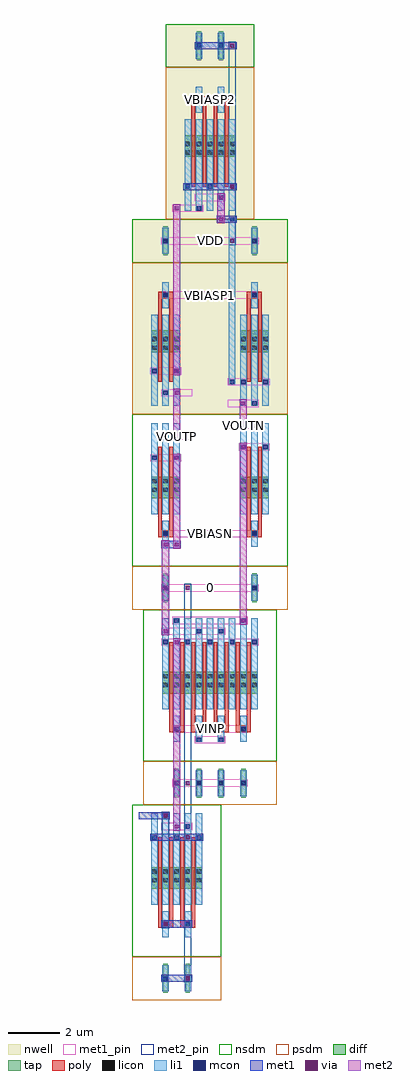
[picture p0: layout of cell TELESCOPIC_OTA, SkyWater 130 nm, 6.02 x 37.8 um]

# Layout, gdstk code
import gdstk
lib = gdstk.Library(unit=1e-6, precision=1e-09)
def R(c, l, rs):  # rectangles x0, y0, x1, y1
    for r in rs: c.add(gdstk.rectangle(r[:2], r[2:], *l))
def A(c, l, x, y, w, h, nx, ny, dx, dy):  # array of equal rectangles
    R(c, l, [(x+i*dx, y+j*dy, x+i*dx+w, y+j*dy+h) for i in range(nx) for j in range(ny)])
nwell = (64, 20)
diff = (65, 20)
tap = (65, 44)
poly = (66, 20)
licon = (66, 44)
li1 = (67, 20)
mcon = (67, 44)
met1_pin = (68, 16)
met1 = (68, 20)
via = (68, 44)
met2_pin = (69, 16)
met2 = (69, 20)
nsdm = (93, 44)
psdm = (94, 20)

telescopic_ota = lib.new_cell('TELESCOPIC_OTA')
R(telescopic_ota, nwell, [(0,22.68,6.02,30.24), (1.29,30.24,4.73,37.8)])
R(telescopic_ota, diff, [(0.735,4.305,2.705,5.145), (1.165,11.865,4.855,12.705), (0.735,19.425,1.845,20.265), (4.175,19.425,5.285,20.265), (0.735,25.095,1.845,25.935), (4.175,25.095,5.285,25.935), (2.025,32.655,3.995,33.495)])
A(telescopic_ota, tap, 1.635, 7.84, 0.17, 1.12, 4, 1, 0.86, 0)
R(telescopic_ota, tap, [(1.205,0.28,1.375,1.4), (2.065,0.28,2.235,1.4), (1.205,15.4,1.375,16.52), (4.645,15.4,4.815,16.52), (1.205,28.84,1.375,29.96), (4.645,28.84,4.815,29.96), (2.495,36.4,2.665,37.52), (3.355,36.4,3.525,37.52)])
A(telescopic_ota, poly, 1, 2.94, 0.15, 3.36, 4, 1, 0.43, 0)
A(telescopic_ota, poly, 1.43, 10.365, 0.58, 0.27, 4, 1, 0.86, 0)
A(telescopic_ota, poly, 1.43, 10.5, 0.15, 3.36, 8, 1, 0.43, 0)
A(telescopic_ota, poly, 2.29, 31.5, 0.15, 3.36, 4, 1, 0.43, 0)
R(telescopic_ota, poly, [(1,2.805,1.58,3.075), (1.86,2.805,2.44,3.075), (1,17.925,1.58,18.195), (4.44,17.925,5.02,18.195), (1,18.06,1.15,21.42), (1.43,18.06,1.58,21.42), (4.44,18.06,4.59,21.42), (4.87,18.06,5.02,21.42), (1,23.94,1.15,27.3), (1.43,23.94,1.58,27.3), (4.44,23.94,4.59,27.3), (4.87,23.94,5.02,27.3), (1,27.165,1.58,27.435), (4.44,27.165,5.02,27.435), (2.29,34.725,2.87,34.995), (3.15,34.725,3.73,34.995)])
A(telescopic_ota, licon, 0.775, 4.555, 0.17, 0.17, 3, 2, 0.43, 0.34)
A(telescopic_ota, licon, 1.635, 4.555, 0.17, 0.17, 3, 2, 0.43, 0.34)
A(telescopic_ota, licon, 1.635, 8.315, 0.17, 0.17, 4, 2, 0.86, 2.1)
A(telescopic_ota, licon, 1.205, 12.115, 0.17, 0.17, 3, 2, 0.43, 0.34)
A(telescopic_ota, licon, 2.065, 12.115, 0.17, 0.17, 3, 2, 0.43, 0.34)
A(telescopic_ota, licon, 2.925, 12.115, 0.17, 0.17, 3, 2, 0.43, 0.34)
A(telescopic_ota, licon, 3.785, 12.115, 0.17, 0.17, 3, 2, 0.43, 0.34)
A(telescopic_ota, licon, 0.775, 19.675, 0.17, 0.17, 3, 2, 0.43, 0.34)
A(telescopic_ota, licon, 4.215, 19.675, 0.17, 0.17, 3, 2, 0.43, 0.34)
A(telescopic_ota, licon, 0.775, 25.175, 0.17, 0.17, 3, 2, 0.43, 0.34)
A(telescopic_ota, licon, 4.215, 25.175, 0.17, 0.17, 3, 2, 0.43, 0.34)
A(telescopic_ota, licon, 2.065, 32.735, 0.17, 0.17, 3, 2, 0.43, 0.34)
A(telescopic_ota, licon, 2.925, 32.735, 0.17, 0.17, 3, 2, 0.43, 0.34)
R(telescopic_ota, licon, [(1.205,0.755,1.375,0.925), (2.065,0.755,2.235,0.925), (1.205,2.855,1.375,3.025), (2.065,2.855,2.235,3.025), (1.205,15.875,1.375,16.045), (4.645,15.875,4.815,16.045), (1.205,17.975,1.375,18.145), (4.645,17.975,4.815,18.145), (1.205,27.215,1.375,27.385), (4.645,27.215,4.815,27.385), (1.205,29.315,1.375,29.485), (4.645,29.315,4.815,29.485), (2.495,34.775,2.665,34.945), (3.355,34.775,3.525,34.945), (2.495,36.875,2.665,37.045), (3.355,36.875,3.525,37.045)])
A(telescopic_ota, li1, 0.735, 3.695, 0.25, 3.53, 5, 1, 0.43, 0)
A(telescopic_ota, li1, 1.595, 7.895, 0.25, 1.01, 4, 2, 0.86, 2.1)
A(telescopic_ota, li1, 1.165, 11.255, 0.25, 3.53, 9, 1, 0.43, 0)
A(telescopic_ota, li1, 0.735, 18.815, 0.25, 3.53, 3, 2, 0.43, 4.2)
A(telescopic_ota, li1, 4.175, 18.815, 0.25, 3.53, 3, 2, 0.43, 4.2)
A(telescopic_ota, li1, 2.025, 30.575, 0.25, 3.53, 5, 1, 0.43, 0)
R(telescopic_ota, li1, [(1.165,0.335,1.415,1.345), (2.025,0.335,2.275,1.345), (1.165,2.435,1.415,3.445), (2.025,2.435,2.275,3.445), (1.165,15.455,1.415,16.465), (4.605,15.455,4.855,16.465), (1.165,17.555,1.415,18.565), (4.605,17.555,4.855,18.565), (3.745,23.855,3.995,30.325), (1.165,26.795,1.415,27.805), (4.605,26.795,4.855,27.805), (1.165,28.895,1.415,29.905), (4.605,28.895,4.855,29.905), (2.455,34.355,2.705,35.365), (3.315,34.355,3.565,35.365), (2.455,36.455,2.705,37.465), (3.315,36.455,3.565,37.465)])
A(telescopic_ota, mcon, 0.775, 6.215, 0.17, 0.17, 3, 1, 0.86, 0)
A(telescopic_ota, mcon, 1.635, 8.315, 0.17, 0.17, 4, 1, 0.86, 0)
A(telescopic_ota, mcon, 1.205, 13.775, 0.17, 0.17, 5, 1, 0.86, 0)
A(telescopic_ota, mcon, 2.065, 31.415, 0.17, 0.17, 3, 1, 0.86, 0)
R(telescopic_ota, mcon, [(1.205,0.755,1.375,0.925), (2.065,0.755,2.235,0.925), (1.205,2.855,1.375,3.025), (2.065,2.855,2.235,3.025), (2.065,6.635,2.235,6.805), (1.205,7.055,1.375,7.225), (2.495,9.995,2.665,10.165), (3.355,9.995,3.525,10.165), (1.635,10.415,1.805,10.585), (4.215,10.415,4.385,10.585), (2.495,14.195,2.665,14.365), (3.355,14.195,3.525,14.365), (1.635,14.615,1.805,14.785), (4.215,14.615,4.385,14.785), (1.205,15.875,1.375,16.045), (4.645,15.875,4.815,16.045), (1.205,17.975,1.375,18.145), (4.645,17.975,4.815,18.145), (0.775,20.915,0.945,21.085), (1.635,20.915,1.805,21.085), (4.215,21.335,4.385,21.505), (5.075,21.335,5.245,21.505), (1.205,21.755,1.375,21.925), (4.645,22.175,4.815,22.345), (4.645,23.015,4.815,23.185), (1.205,23.435,1.375,23.605), (3.785,23.855,3.955,24.025), (4.215,23.855,4.385,24.025), (5.075,23.855,5.245,24.025), (0.775,24.275,0.945,24.445), (1.635,24.275,1.805,24.445), (1.205,27.215,1.375,27.385), (4.645,27.215,4.815,27.385), (1.205,29.315,1.375,29.485), (4.645,29.315,4.815,29.485), (3.785,30.155,3.955,30.325), (2.495,30.575,2.665,30.745), (3.355,30.995,3.525,31.165), (2.495,34.775,2.665,34.945), (3.355,34.775,3.525,34.945), (2.495,36.875,2.665,37.045), (3.355,36.875,3.525,37.045)])
A(telescopic_ota, met1_pin, 1.12, 13.72, 3.78, 0.28, 1, 3, 0, 2.1)
R(telescopic_ota, met1_pin, [(1.12,6.58,2.32,6.86), (1.55,8.26,4.47,8.54), (2.41,9.94,3.61,10.22), (1.55,10.36,4.47,10.64), (1.13,14.14,3.61,14.42), (1.55,14.56,4.47,14.84), (0.69,20.86,1.89,21.14), (4.13,21.28,5.33,21.56), (1.12,21.7,2.32,21.98), (3.7,22.12,4.9,22.4), (3.7,22.96,4.9,23.24), (1.12,23.38,2.32,23.66), (3.7,23.8,5.33,24.08), (0.69,24.22,1.89,24.5), (1.12,27.16,4.9,27.44), (1.12,29.26,4.9,29.54), (1.55,30.52,2.75,30.8), (2.41,30.94,3.61,31.22), (2.41,34.72,3.61,35)])
R(telescopic_ota, met1, [(1.12,0.7,2.32,0.98), (1.12,2.8,2.32,3.08), (0.69,6.16,2.75,6.44), (0.26,7,1.46,7.28), (1.13,17.5,1.88,17.78), (3.28,30.1,4.04,30.38), (1.98,31.36,4.04,31.64), (2.41,36.82,4.04,37.1)])
A(telescopic_ota, via, 4.225, 21.345, 0.15, 0.15, 1, 3, 0, 0.84)
R(telescopic_ota, via, [(2.075,0.765,2.225,0.915), (1.215,2.865,1.365,3.015), (2.075,6.225,2.225,6.375), (1.645,6.645,1.795,6.795), (1.215,7.065,1.365,7.215), (2.075,8.325,2.225,8.475), (1.645,13.785,1.795,13.935), (1.215,14.205,1.365,14.355), (4.225,14.625,4.375,14.775), (2.075,15.885,2.225,16.035), (1.215,17.565,1.365,17.715), (1.645,17.565,1.795,17.715), (1.645,20.925,1.795,21.075), (1.645,21.765,1.795,21.915), (1.645,23.445,1.795,23.595), (1.645,24.285,1.795,24.435), (3.795,29.325,3.945,29.475), (3.365,30.165,3.515,30.315), (1.645,30.585,1.795,30.735), (3.365,31.005,3.515,31.155), (3.795,31.425,3.945,31.575), (3.795,36.885,3.945,37.035)])
R(telescopic_ota, met2_pin, [(2.01,0.68,2.29,16.12), (1.15,2.78,1.43,7.3), (3.73,29.24,4.01,37.12)])
R(telescopic_ota, met2, [(1.58,6.56,1.86,14.02), (1.15,14.12,1.43,17.8), (4.16,14.54,4.44,21.58), (1.58,17.48,1.86,21.16), (1.58,21.68,1.86,23.68), (4.16,22.1,4.44,23.26), (1.58,24.2,1.86,30.82), (3.3,30.08,3.58,31.24)])
R(telescopic_ota, nsdm, [(0,1.68,3.44,7.56), (0.43,9.24,5.59,15.12), (0,16.8,6.02,22.68), (0,28.56,6.02,30.24), (1.29,36.12,4.73,37.8)])
R(telescopic_ota, psdm, [(0,0,3.44,1.68), (0.43,7.56,5.59,9.24), (0,15.12,6.02,16.8), (0,22.68,6.02,28.56), (1.29,30.24,4.73,36.12)])
telescopic_ota.add(gdstk.Label('VBIASP2', (3.01,34.86), layer=68, texttype=5))
telescopic_ota.add(gdstk.Label('VOUTN', (4.3,22.26), layer=68, texttype=5))
telescopic_ota.add(gdstk.Label('VOUTP', (1.72,21.84), layer=68, texttype=5))
telescopic_ota.add(gdstk.Label('VBIASN', (3.01,18.06), layer=68, texttype=5))
telescopic_ota.add(gdstk.Label('0', (3.01,15.96), layer=68, texttype=5))
telescopic_ota.add(gdstk.Label('VBIASP1', (3.01,27.3), layer=68, texttype=5))
telescopic_ota.add(gdstk.Label('VDD', (3.01,29.4), layer=68, texttype=5))
telescopic_ota.add(gdstk.Label('VINP', (3.01,10.5), layer=68, texttype=5))
telescopic_ota.add(gdstk.Label('VINN', (3.01,10.08), layer=68, texttype=5))

lib.write_gds('TELESCOPIC_OTA.gds')
